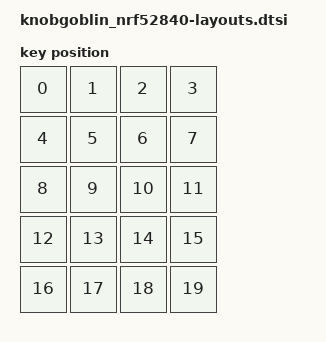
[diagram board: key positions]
#include <physical_layouts.dtsi>

/ {
    physical_layout_knobgoblin_nrf52840: physical_layout_knobgoblin_nrf52840 {
        compatible = "zmk,physical-layout";
        display-name = "KnobGoblin-ZMK";
        keys  //                     w   h    x    y     rot    rx    ry
            = <&key_physical_attrs 100 100  100    0       0   100     0>
            , <&key_physical_attrs 100 100  200    0       0   200     0>
            , <&key_physical_attrs 100 100  300    0       0   300     0>
            , <&key_physical_attrs 100 100  400    0       0   400     0>
            , <&key_physical_attrs 100 100  100  100       0   100   100>
            , <&key_physical_attrs 100 100  200  100       0   200   100>
            , <&key_physical_attrs 100 100  300  100       0   300   100>
            , <&key_physical_attrs 100 100  400  100       0   400   100>
            , <&key_physical_attrs 100 100  100  200       0   100   200>
            , <&key_physical_attrs 100 100  200  200       0   200   200>
            , <&key_physical_attrs 100 100  300  200       0   300   200>
            , <&key_physical_attrs 100 100  400  200       0   400   200>
            , <&key_physical_attrs 100 100(-25)  225       0 (-25)   225>
            , <&key_physical_attrs 100 100  100  300       0   100   300>
            , <&key_physical_attrs 100 100  200  300       0   200   300>
            , <&key_physical_attrs 100 100  300  300       0   300   300>
            , <&key_physical_attrs 100 100  400  300       0   400   300>
            , <&key_physical_attrs 100 100(-25)  375       0 (-25)   375>
            , <&key_physical_attrs 100 100  100  400       0   100   400>
            , <&key_physical_attrs 100 100  200  400       0   200   400>
            , <&key_physical_attrs 100 100  300  400       0   300   400>
            , <&key_physical_attrs 100 100  400  400       0   400   400>
            ;
    };
};
